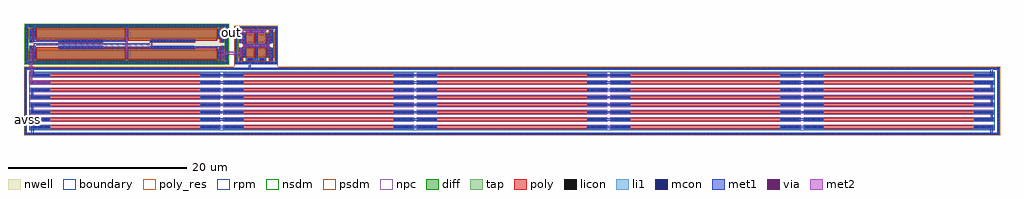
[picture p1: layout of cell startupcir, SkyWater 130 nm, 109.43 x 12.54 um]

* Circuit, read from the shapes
.subckt startupcir avss out vdde
XM1 nmos_startup_2/D1 nmos_startup_2/D1 nmos_startup_2/D1 avss sky130_fd_pr__nfet_01v8 w=1 l=0.15 m=4
XM2 avss out nmos_startup_2/D1 avss sky130_fd_pr__nfet_01v8 w=1 l=1 m=4
XM3 resistorstart_0/A resistorstart_0/A resistorstart_0/A vdde sky130_fd_pr__pfet_01v8 w=1 l=0.15
XM4 vdde vdde vdde vdde sky130_fd_pr__pfet_01v8 w=1 l=0.15
XM5 vdde nmos_startup_2/D1 resistorstart_0/A vdde sky130_fd_pr__pfet_01v8 w=1 l=10
XM6 vdde vdde vdde vdde sky130_fd_pr__pfet_01v8 w=1 l=10
XM7 nmos_startup_2/D1 nmos_startup_2/D1 vdde vdde sky130_fd_pr__pfet_01v8 w=1 l=10
XM8 out resistorstart_0/A vdde vdde sky130_fd_pr__pfet_01v8 w=1 l=10
XM9 nmos_startup_2/D1 nmos_startup_2/D1 nmos_startup_2/D1 vdde sky130_fd_pr__pfet_01v8 w=1 l=0.15
XM10 out out out vdde sky130_fd_pr__pfet_01v8 w=1 l=0.15
XR11 n1 avss avss sky130_fd_pr__res_high_po w=0.35 l=16.88
XR12 n2 avss avss sky130_fd_pr__res_high_po w=0.35 l=16.88
XR13 n3 n4 avss sky130_fd_pr__res_high_po w=0.35 l=16.88
XR14 n5 n4 avss sky130_fd_pr__res_high_po w=0.35 l=16.88
XR15 n6 n7 avss sky130_fd_pr__res_high_po w=0.35 l=16.88
XR16 n8 n7 avss sky130_fd_pr__res_high_po w=0.35 l=16.88
XR17 n9 resistorstart_0/A avss sky130_fd_pr__res_high_po w=0.35 l=16.88
XR18 n10 avss avss sky130_fd_pr__res_high_po w=0.35 l=16.88
XR19 n11 n1 avss sky130_fd_pr__res_high_po w=0.35 l=16.88
XR20 n12 n2 avss sky130_fd_pr__res_high_po w=0.35 l=16.88
XR21 n13 n3 avss sky130_fd_pr__res_high_po w=0.35 l=16.88
XR22 n14 n5 avss sky130_fd_pr__res_high_po w=0.35 l=16.88
XR23 n15 n6 avss sky130_fd_pr__res_high_po w=0.35 l=16.88
XR24 n16 n8 avss sky130_fd_pr__res_high_po w=0.35 l=16.88
XR25 n17 n9 avss sky130_fd_pr__res_high_po w=0.35 l=16.88
XR26 n18 n10 avss sky130_fd_pr__res_high_po w=0.35 l=16.88
XR27 n19 n11 avss sky130_fd_pr__res_high_po w=0.35 l=16.88
XR28 n20 n12 avss sky130_fd_pr__res_high_po w=0.35 l=16.88
XR29 n21 n13 avss sky130_fd_pr__res_high_po w=0.35 l=16.88
XR30 n22 n14 avss sky130_fd_pr__res_high_po w=0.35 l=16.88
XR31 n23 n15 avss sky130_fd_pr__res_high_po w=0.35 l=16.88
XR32 n24 n16 avss sky130_fd_pr__res_high_po w=0.35 l=16.88
XR33 n25 n17 avss sky130_fd_pr__res_high_po w=0.35 l=16.88
XR34 n26 n18 avss sky130_fd_pr__res_high_po w=0.35 l=16.88
XR35 n27 n19 avss sky130_fd_pr__res_high_po w=0.35 l=16.88
XR36 n28 n20 avss sky130_fd_pr__res_high_po w=0.35 l=16.88
XR37 n29 n21 avss sky130_fd_pr__res_high_po w=0.35 l=16.88
XR38 n30 n22 avss sky130_fd_pr__res_high_po w=0.35 l=16.88
XR39 n31 n23 avss sky130_fd_pr__res_high_po w=0.35 l=16.88
XR40 n32 n24 avss sky130_fd_pr__res_high_po w=0.35 l=16.88
XR41 n33 n25 avss sky130_fd_pr__res_high_po w=0.35 l=16.88
XR42 n34 n26 avss sky130_fd_pr__res_high_po w=0.35 l=16.88
XR43 avss n27 avss sky130_fd_pr__res_high_po w=0.35 l=16.88
XR44 n35 n28 avss sky130_fd_pr__res_high_po w=0.35 l=16.88
XR45 n35 n29 avss sky130_fd_pr__res_high_po w=0.35 l=16.88
XR46 n36 n30 avss sky130_fd_pr__res_high_po w=0.35 l=16.88
XR47 n36 n31 avss sky130_fd_pr__res_high_po w=0.35 l=16.88
XR48 n37 n32 avss sky130_fd_pr__res_high_po w=0.35 l=16.88
XR49 n37 n33 avss sky130_fd_pr__res_high_po w=0.35 l=16.88
XR50 avss n34 avss sky130_fd_pr__res_high_po w=0.35 l=16.88
.ends

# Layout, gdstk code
from math import pi, radians
import gdstk
lib = gdstk.Library(unit=1e-6, precision=1e-09)
def R(c, l, rs):  # rectangles x0, y0, x1, y1
    for r in rs: c.add(gdstk.rectangle(r[:2], r[2:], *l))
def A(c, l, x, y, w, h, nx, ny, dx, dy):  # array of equal rectangles
    R(c, l, [(x+i*dx, y+j*dy, x+i*dx+w, y+j*dy+h) for i in range(nx) for j in range(ny)])
nwell = (64, 20)
diff = (65, 20)
tap = (65, 44)
poly_res = (66, 13)
poly = (66, 20)
licon = (66, 44)
li1 = (67, 20)
mcon = (67, 44)
met1 = (68, 20)
via = (68, 44)
met2 = (69, 20)
rpm = (86, 20)
nsdm = (93, 44)
psdm = (94, 20)
npc = (95, 20)
boundary = (235, 4)

sky130_fd_pr__res_high_p = lib.new_cell('sky130_fd_pr__res_high_po_0p35_9NXREG')
R(sky130_fd_pr__res_high_p, tap, [(-3.73,-54.59,3.73,-54.42), (-3.73,-54.42,-3.56,54.42), (3.56,-54.42,3.73,54.42), (-3.73,54.42,3.73,54.59)])
A(sky130_fd_pr__res_high_p, poly_res, -3.08, -51.86, 0.35, 17, 8, 5, 0.83, 21.68)
A(sky130_fd_pr__res_high_p, poly, -3.08, -53.94, 0.35, 21.16, 8, 5, 0.83, 21.68)
A(sky130_fd_pr__res_high_p, licon, -3.145, -54.59, 0.17, 0.17, 19, 2, 0.34, 109.01)
A(sky130_fd_pr__res_high_p, licon, -3.73, -53.975, 0.17, 0.17, 1, 318, 0, 0.34)
A(sky130_fd_pr__res_high_p, licon, 3.56, -53.975, 0.17, 0.17, 1, 318, 0, 0.34)
A(sky130_fd_pr__res_high_p, licon, -3, -53.86, 0.19, 2, 8, 2, 0.83, 19)
A(sky130_fd_pr__res_high_p, licon, -3, -32.18, 0.19, 2, 8, 2, 0.83, 19)
A(sky130_fd_pr__res_high_p, licon, -3, -10.5, 0.19, 2, 8, 2, 0.83, 19)
A(sky130_fd_pr__res_high_p, licon, -3, 11.18, 0.19, 2, 8, 2, 0.83, 19)
A(sky130_fd_pr__res_high_p, licon, -3, 32.86, 0.19, 2, 8, 2, 0.83, 19)
A(sky130_fd_pr__res_high_p, li1, -3.08, -53.94, 0.35, 2.16, 8, 2, 0.83, 19)
A(sky130_fd_pr__res_high_p, li1, -3.08, -32.26, 0.35, 2.16, 8, 2, 0.83, 19)
A(sky130_fd_pr__res_high_p, li1, -3.08, -10.58, 0.35, 2.16, 8, 2, 0.83, 19)
A(sky130_fd_pr__res_high_p, li1, -3.08, 11.1, 0.35, 2.16, 8, 2, 0.83, 19)
A(sky130_fd_pr__res_high_p, li1, -3.08, 32.78, 0.35, 2.16, 8, 2, 0.83, 19)
R(sky130_fd_pr__res_high_p, li1, [(-3.73,-54.59,3.73,-54.42), (-3.73,-54.42,-3.56,54.42), (3.56,-54.42,3.73,54.42), (-3.73,54.42,3.73,54.59)])
A(sky130_fd_pr__res_high_p, mcon, -2.99, -53.845, 0.17, 0.17, 8, 6, 0.83, 0.36)
A(sky130_fd_pr__res_high_p, mcon, -2.99, -34.85, 0.17, 0.17, 8, 6, 0.83, 0.36)
A(sky130_fd_pr__res_high_p, mcon, -2.99, -32.165, 0.17, 0.17, 8, 6, 0.83, 0.36)
A(sky130_fd_pr__res_high_p, mcon, -2.99, -13.17, 0.17, 0.17, 8, 6, 0.83, 0.36)
A(sky130_fd_pr__res_high_p, mcon, -2.99, -10.485, 0.17, 0.17, 8, 6, 0.83, 0.36)
A(sky130_fd_pr__res_high_p, mcon, -2.99, 8.51, 0.17, 0.17, 8, 6, 0.83, 0.36)
A(sky130_fd_pr__res_high_p, mcon, -2.99, 11.195, 0.17, 0.17, 8, 6, 0.83, 0.36)
A(sky130_fd_pr__res_high_p, mcon, -2.99, 30.19, 0.17, 0.17, 8, 6, 0.83, 0.36)
A(sky130_fd_pr__res_high_p, mcon, -2.99, 32.875, 0.17, 0.17, 8, 6, 0.83, 0.36)
A(sky130_fd_pr__res_high_p, mcon, -2.99, 51.87, 0.17, 0.17, 8, 6, 0.83, 0.36)
A(sky130_fd_pr__res_high_p, met1, -3.03, -53.91, 0.25, 2.105, 8, 2, 0.83, 18.995)
A(sky130_fd_pr__res_high_p, met1, -3.03, -32.23, 0.25, 2.105, 8, 2, 0.83, 18.995)
A(sky130_fd_pr__res_high_p, met1, -3.03, -10.55, 0.25, 2.105, 8, 2, 0.83, 18.995)
A(sky130_fd_pr__res_high_p, met1, -3.03, 11.13, 0.25, 2.105, 8, 2, 0.83, 18.995)
A(sky130_fd_pr__res_high_p, met1, -3.03, 32.81, 0.25, 2.105, 8, 2, 0.83, 18.995)
R(sky130_fd_pr__res_high_p, rpm, [(-3.28,-54.14,3.28,54.14)])
R(sky130_fd_pr__res_high_p, psdm, [(-3.855,-54.715,3.855,54.715)])
A(sky130_fd_pr__res_high_p, npc, -3.175, -54.035, 0.54, 21.35, 8, 5, 0.83, 21.68)
R(sky130_fd_pr__res_high_p, boundary, [(-3.645,-54.505,3.645,54.505)])

resistorstart = lib.new_cell('resistorstart')
R(resistorstart, li1, [(-0.085,-0.085,109.095,0.085), (-0.085,0.085,0.085,7.205), (108.925,0.085,109.095,7.205), (-0.085,7.205,109.095,7.375)])
A(resistorstart, mcon, 0.42, -0.085, 0.17, 0.17, 301, 2, 0.36, 7.29)
A(resistorstart, mcon, -0.085, 0.32, 0.17, 0.17, 1, 19, 0, 0.36)
A(resistorstart, mcon, 108.925, 0.32, 0.17, 0.17, 1, 19, 0, 0.36)
R(resistorstart, mcon, [(-0.085,-0.085,0.085,0.085), (108.925,-0.085,109.095,0.085), (-0.085,7.205,0.085,7.375), (108.925,7.205,109.095,7.375)])
A(resistorstart, met1, 21.635, 0.615, 0.7, 0.25, 4, 8, 21.68, 0.83)
A(resistorstart, met1, 108.165, 1.445, 0.25, 1.08, 1, 3, 0, 1.66)
R(resistorstart, met1, [(-0.115,-0.145,0.115,-0.115), (108.895,-0.145,109.125,-0.115), (-0.145,-0.115,109.155,0.115), (-0.115,0.115,0.115,7.175), (0.595,0.115,0.885,0.66), (108.125,0.115,108.42,0.64), (108.895,0.115,109.125,7.175), (0.595,1.445,0.885,1.695), (0.595,2.28,0.845,3.36), (0.595,3.94,0.845,5.02), (0.595,5.595,0.885,5.845), (0.595,6.575,0.885,7.175), (108.125,6.65,108.415,7.175), (-0.145,7.175,109.155,7.405), (-0.115,7.405,0.115,7.435), (108.895,7.405,109.125,7.435)])
resistorstart.add(gdstk.Reference(sky130_fd_pr__res_high_p, (54.505,3.645), rotation=pi/2))
resistorstart.add(gdstk.Label('A', (0.625,5.685), layer=68, texttype=5))
resistorstart.add(gdstk.Label('B', (0.62,1.57), layer=68, texttype=5))
resistorstart.add(gdstk.Label('AVSS', (108.27,6.94), layer=68, texttype=5))

sky130_fd_pr__pfet_01v8_ = lib.new_cell('sky130_fd_pr__pfet_01v8_CVRJBD')
R(sky130_fd_pr__pfet_01v8_, nwell, [(-10.615,-0.82,10.615,0.99)])
R(sky130_fd_pr__pfet_01v8_, diff, [(-10.435,-0.32,10.435,0.68)])
R(sky130_fd_pr__pfet_01v8_, poly, [(-7.685,-0.805,-2.605,-0.64), (2.605,-0.805,7.685,-0.64), (-10.145,-0.64,-0.145,0.81), (0.145,-0.64,10.145,0.81)])
A(sky130_fd_pr__pfet_01v8_, licon, -7.44, -0.725, 0.17, 0.17, 14, 1, 0.34, 0)
A(sky130_fd_pr__pfet_01v8_, licon, 2.85, -0.725, 0.17, 0.17, 14, 1, 0.34, 0)
A(sky130_fd_pr__pfet_01v8_, licon, -10.375, -0.245, 0.17, 0.17, 3, 3, 10.29, 0.34)
A(sky130_fd_pr__pfet_01v8_, li1, -10.375, -0.34, 0.17, 1.04, 3, 1, 10.29, 0)
R(sky130_fd_pr__pfet_01v8_, li1, [(-7.685,-0.725,-2.605,-0.555), (2.605,-0.725,7.685,-0.555)])
A(sky130_fd_pr__pfet_01v8_, mcon, -7.57, -0.725, 0.17, 0.17, 14, 1, 0.36, 0)
A(sky130_fd_pr__pfet_01v8_, mcon, 2.72, -0.725, 0.17, 0.17, 14, 1, 0.36, 0)
A(sky130_fd_pr__pfet_01v8_, mcon, -10.375, -0.085, 0.17, 0.17, 3, 2, 10.29, 0.36)
A(sky130_fd_pr__pfet_01v8_, met1, -10.405, -0.32, 0.23, 1, 3, 1, 10.29, 0)
R(sky130_fd_pr__pfet_01v8_, met1, [(-7.665,-0.755,-2.625,-0.525), (2.625,-0.755,7.665,-0.525)])
R(sky130_fd_pr__pfet_01v8_, psdm, [(-10.56,-0.445,10.56,0.805)])
R(sky130_fd_pr__pfet_01v8_, npc, [(-7.54,-0.825,-2.75,-0.455), (2.75,-0.825,7.54,-0.455)])

c_sky130_fd_pr__pfet_01v8_ = lib.new_cell('sky130_fd_pr__pfet_01v8_8RMJP2')
R(c_sky130_fd_pr__pfet_01v8_, nwell, [(-10.615,-0.99,10.615,0.82)])
R(c_sky130_fd_pr__pfet_01v8_, diff, [(-10.435,-0.68,10.435,0.32)])
R(c_sky130_fd_pr__pfet_01v8_, poly, [(-10.145,-0.81,-0.145,0.64), (0.145,-0.81,10.145,0.64), (-7.685,0.64,-2.605,0.805), (2.605,0.64,7.685,0.805)])
A(c_sky130_fd_pr__pfet_01v8_, licon, -10.375, -0.605, 0.17, 0.17, 3, 3, 10.29, 0.34)
A(c_sky130_fd_pr__pfet_01v8_, licon, -7.44, 0.555, 0.17, 0.17, 14, 1, 0.34, 0)
A(c_sky130_fd_pr__pfet_01v8_, licon, 2.85, 0.555, 0.17, 0.17, 14, 1, 0.34, 0)
A(c_sky130_fd_pr__pfet_01v8_, li1, -10.375, -0.7, 0.17, 1.04, 3, 1, 10.29, 0)
R(c_sky130_fd_pr__pfet_01v8_, li1, [(-7.685,0.555,-2.605,0.725), (2.605,0.555,7.685,0.725)])
A(c_sky130_fd_pr__pfet_01v8_, mcon, -10.375, -0.445, 0.17, 0.17, 3, 2, 10.29, 0.36)
A(c_sky130_fd_pr__pfet_01v8_, mcon, -7.57, 0.555, 0.17, 0.17, 14, 1, 0.36, 0)
A(c_sky130_fd_pr__pfet_01v8_, mcon, 2.72, 0.555, 0.17, 0.17, 14, 1, 0.36, 0)
A(c_sky130_fd_pr__pfet_01v8_, met1, -10.405, -0.68, 0.23, 1, 3, 1, 10.29, 0)
R(c_sky130_fd_pr__pfet_01v8_, met1, [(-7.665,0.525,-2.625,0.755), (2.625,0.525,7.665,0.755)])
R(c_sky130_fd_pr__pfet_01v8_, psdm, [(-10.56,-0.805,10.56,0.445)])
R(c_sky130_fd_pr__pfet_01v8_, npc, [(-7.54,0.455,-2.75,0.825), (2.75,0.455,7.54,0.825)])

c_sky130_fd_pr__pfet_01v8__ = lib.new_cell('sky130_fd_pr__pfet_01v8_2XUZHN')
R(c_sky130_fd_pr__pfet_01v8__, nwell, [(-0.545,-0.81,0.545,0.81)])
R(c_sky130_fd_pr__pfet_01v8__, diff, [(-0.365,-0.5,0.365,0.5)])
R(c_sky130_fd_pr__pfet_01v8__, poly, [(-0.075,-0.63,0.075,0.63)])
A(c_sky130_fd_pr__pfet_01v8__, licon, -0.305, -0.425, 0.17, 0.17, 1, 3, 0, 0.34)
A(c_sky130_fd_pr__pfet_01v8__, licon, 0.135, -0.425, 0.17, 0.17, 1, 3, 0, 0.34)
R(c_sky130_fd_pr__pfet_01v8__, li1, [(-0.305,-0.52,-0.135,0.52), (0.135,-0.52,0.305,0.52)])
R(c_sky130_fd_pr__pfet_01v8__, mcon, [(-0.305,-0.265,-0.135,-0.095), (0.135,-0.265,0.305,-0.095), (-0.305,0.095,-0.135,0.265), (0.135,0.095,0.305,0.265)])
R(c_sky130_fd_pr__pfet_01v8__, met1, [(-0.335,-0.5,-0.105,0.5), (0.105,-0.5,0.335,0.5)])
R(c_sky130_fd_pr__pfet_01v8__, psdm, [(-0.49,-0.625,0.49,0.625)])

pmos_startup = lib.new_cell('pmos_startup')
R(pmos_startup, nwell, [(-0.88,-2.47,22.11,2.15)])
R(pmos_startup, tap, [(-0.7,-2.29,21.93,-2.12), (-0.7,-2.12,-0.53,1.8), (21.76,-2.12,21.93,1.8), (-0.7,1.8,21.93,1.97)])
R(pmos_startup, poly, [(21.05,-0.76,21.2,-0.695), (0.03,-0.72,0.18,-0.695), (-0.28,-0.695,0.18,-0.365), (21.05,-0.695,21.51,-0.365), (21.05,0.04,21.51,0.37), (-0.28,0.045,0.18,0.375), (21.05,0.37,21.2,0.63), (0.03,0.375,0.18,0.49)])
A(pmos_startup, licon, -0.35, -2.29, 0.17, 0.17, 65, 2, 0.34, 4.09)
A(pmos_startup, licon, -0.7, -1.945, 0.17, 0.17, 1, 11, 0, 0.34)
A(pmos_startup, licon, 21.76, -1.945, 0.17, 0.17, 1, 11, 0, 0.34)
R(pmos_startup, licon, [(-0.2,-0.615,-0.03,-0.445), (21.26,-0.615,21.43,-0.445), (21.26,0.12,21.43,0.29), (-0.2,0.125,-0.03,0.295)])
R(pmos_startup, li1, [(-0.7,-2.29,21.93,-2.12), (-0.7,-2.12,-0.53,1.8), (21.76,-2.12,21.93,1.8), (-0.2,-0.875,-0.03,-0.365), (21.26,-0.865,21.43,-0.365), (21.26,0.04,21.43,0.57), (-0.2,0.045,-0.03,0.555), (-0.7,1.8,21.93,1.97)])
A(pmos_startup, mcon, -0.27, -2.29, 0.17, 0.17, 61, 2, 0.36, 4.09)
A(pmos_startup, mcon, -0.7, -1.865, 0.17, 0.17, 1, 10, 0, 0.36)
A(pmos_startup, mcon, 21.76, -1.865, 0.17, 0.17, 1, 10, 0, 0.36)
R(pmos_startup, mcon, [(-0.7,-2.29,-0.53,-2.12), (21.76,-2.29,21.93,-2.12), (-0.2,-0.615,-0.03,-0.445), (21.26,-0.615,21.43,-0.445), (21.26,0.12,21.43,0.29), (-0.2,0.125,-0.03,0.295), (-0.7,1.8,-0.53,1.97), (21.76,1.8,21.93,1.97)])
R(pmos_startup, met1, [(-0.73,-2.35,-0.5,-2.32), (21.73,-2.35,21.96,-2.32), (-0.76,-2.32,21.99,-2.09), (-0.73,-2.09,-0.5,1.77), (10.5,-2.09,10.73,-1.79), (20.79,-2.09,21.02,-1.85), (21.73,-2.09,21.96,1.77), (-0.215,-1.85,0.3,-0.88), (20.79,-1.85,21.305,-0.895), (10.435,-1.79,10.795,-0.91), (10.5,-0.91,10.73,-0.645), (20.79,-0.895,21.46,-0.85), (-0.23,-0.88,0.3,-0.85), (-0.23,-0.85,0,-0.385), (20.79,-0.85,21.02,-0.645), (21.23,-0.85,21.46,-0.385), (7.76,-0.645,7.99,-0.275), (10.5,-0.645,21.02,-0.415), (7.76,-0.275,21.02,-0.045), (20.79,-0.045,21.02,0.525), (21.23,0.06,21.46,0.525), (-0.23,0.065,0,0.53), (0.44,0.065,3.1,0.095), (0.21,0.095,3.1,0.295), (7.97,0.095,13.345,0.325), (0.21,0.295,0.44,0.53), (20.79,0.525,21.46,0.53), (-0.23,0.53,0.44,0.535), (10.435,0.53,10.795,1.41), (20.895,0.53,21.46,0.62), (-0.23,0.535,0.395,0.54), (-0.12,0.54,0.395,1.5), (20.895,0.62,21.41,1.5), (-0.76,1.77,21.99,2), (-0.73,2,-0.5,2.03), (21.73,2,21.96,2.03)])
R(pmos_startup, via, [(10.54,-1.585,10.69,-1.435), (10.54,-1.265,10.69,-1.115), (10.54,0.735,10.69,0.885), (10.54,1.055,10.69,1.205)])
R(pmos_startup, met2, [(10.485,-1.84,10.745,1.46)])
R(pmos_startup, nsdm, [(-0.825,-2.415,22.055,-1.995), (-0.825,-1.995,-0.405,1.675), (21.635,-1.995,22.055,1.675), (-0.825,1.675,22.055,2.095)])
R(pmos_startup, npc, [(-0.3,-0.715,0.07,-0.345), (21.16,-0.715,21.53,-0.345), (21.16,0.02,21.53,0.39), (-0.3,0.025,0.07,0.395)])
pmos_startup.add(gdstk.Reference(sky130_fd_pr__pfet_01v8_, (10.615,0.85)))
pmos_startup.add(gdstk.Reference(c_sky130_fd_pr__pfet_01v8_, (10.615,-1.17)))
pmos_startup.add(gdstk.Reference(c_sky130_fd_pr__pfet_01v8__, (0.105,-1.35)))
pmos_startup.add(gdstk.Reference(c_sky130_fd_pr__pfet_01v8__, (0.105,1.03)))
pmos_startup.add(gdstk.Reference(c_sky130_fd_pr__pfet_01v8__, (21.125,-1.35)))
pmos_startup.add(gdstk.Reference(c_sky130_fd_pr__pfet_01v8__, (21.125,1.03)))
pmos_startup.add(gdstk.Label('D3', (0.31,0.15), layer=68, texttype=5))
pmos_startup.add(gdstk.Label('D2', (20.92,0.275), layer=68, texttype=5))
pmos_startup.add(gdstk.Label('D4', (0.085,-1.335), layer=68, texttype=5))
pmos_startup.add(gdstk.Label('VDDE', (10.595,-2.04), layer=68, texttype=5))

sky130_fd_pr__nfet_01v8_ = lib.new_cell('sky130_fd_pr__nfet_01v8_CJRLGR')
R(sky130_fd_pr__nfet_01v8_, diff, [(-1.435,-1.275,1.435,-0.275), (-1.435,0.275,1.435,1.275)])
R(sky130_fd_pr__nfet_01v8_, poly, [(-1.145,-1.715,-0.145,1.715), (0.145,-1.715,1.145,1.715)])
A(sky130_fd_pr__nfet_01v8_, licon, -0.9, -1.635, 0.17, 0.17, 1, 3, 0, 1.55)
A(sky130_fd_pr__nfet_01v8_, licon, -0.56, -1.635, 0.17, 0.17, 1, 3, 0, 1.55)
A(sky130_fd_pr__nfet_01v8_, licon, 0.39, -1.635, 0.17, 0.17, 1, 3, 0, 1.55)
A(sky130_fd_pr__nfet_01v8_, licon, 0.73, -1.635, 0.17, 0.17, 1, 3, 0, 1.55)
A(sky130_fd_pr__nfet_01v8_, licon, -1.375, -1.2, 0.17, 0.17, 3, 3, 1.29, 0.34)
A(sky130_fd_pr__nfet_01v8_, licon, -1.375, 0.35, 0.17, 0.17, 3, 3, 1.29, 0.34)
A(sky130_fd_pr__nfet_01v8_, li1, -1.145, -1.635, 1, 0.17, 1, 3, 0, 1.55)
A(sky130_fd_pr__nfet_01v8_, li1, 0.145, -1.635, 1, 0.17, 1, 3, 0, 1.55)
A(sky130_fd_pr__nfet_01v8_, li1, -1.375, -1.295, 0.17, 1.04, 3, 2, 1.29, 1.55)
A(sky130_fd_pr__nfet_01v8_, mcon, -0.73, -1.635, 0.17, 0.17, 1, 3, 0, 1.55)
A(sky130_fd_pr__nfet_01v8_, mcon, 0.56, -1.635, 0.17, 0.17, 1, 3, 0, 1.55)
A(sky130_fd_pr__nfet_01v8_, mcon, -1.375, -1.04, 0.17, 0.17, 3, 2, 1.29, 0.36)
A(sky130_fd_pr__nfet_01v8_, mcon, -1.375, 0.51, 0.17, 0.17, 3, 2, 1.29, 0.36)
A(sky130_fd_pr__nfet_01v8_, met1, -0.915, -1.665, 0.54, 0.23, 1, 3, 0, 1.55)
A(sky130_fd_pr__nfet_01v8_, met1, 0.375, -1.665, 0.54, 0.23, 1, 3, 0, 1.55)
A(sky130_fd_pr__nfet_01v8_, met1, -1.405, -1.275, 0.23, 1, 3, 2, 1.29, 1.55)
R(sky130_fd_pr__nfet_01v8_, nsdm, [(-1.56,-1.4,1.56,1.4)])
A(sky130_fd_pr__nfet_01v8_, npc, -1, -1.735, 0.71, 0.37, 1, 3, 0, 1.55)
A(sky130_fd_pr__nfet_01v8_, npc, 0.29, -1.735, 0.71, 0.37, 1, 3, 0, 1.55)

c_sky130_fd_pr__nfet_01v8_ = lib.new_cell('sky130_fd_pr__nfet_01v8_6H9P4D')
R(c_sky130_fd_pr__nfet_01v8_, diff, [(-0.365,-0.5,0.365,0.5)])
R(c_sky130_fd_pr__nfet_01v8_, poly, [(-0.075,-0.63,0.075,0.63)])
A(c_sky130_fd_pr__nfet_01v8_, licon, -0.305, -0.425, 0.17, 0.17, 1, 3, 0, 0.34)
A(c_sky130_fd_pr__nfet_01v8_, licon, 0.135, -0.425, 0.17, 0.17, 1, 3, 0, 0.34)
R(c_sky130_fd_pr__nfet_01v8_, li1, [(-0.305,-0.52,-0.135,0.52), (0.135,-0.52,0.305,0.52)])
R(c_sky130_fd_pr__nfet_01v8_, mcon, [(-0.305,-0.265,-0.135,-0.095), (0.135,-0.265,0.305,-0.095), (-0.305,0.095,-0.135,0.265), (0.135,0.095,0.305,0.265)])
R(c_sky130_fd_pr__nfet_01v8_, met1, [(-0.335,-0.5,-0.105,0.5), (0.105,-0.5,0.335,0.5)])
R(c_sky130_fd_pr__nfet_01v8_, nsdm, [(-0.49,-0.625,0.49,0.625)])

nmos_startup = lib.new_cell('nmos_startup')
R(nmos_startup, tap, [(-0.96,-0.71,3.67,-0.54), (-0.96,-0.54,-0.79,3.23), (3.5,-0.54,3.67,3.23), (-0.96,3.23,3.67,3.4)])
R(nmos_startup, poly, [(-0.54,-0.37,-0.08,-0.04), (2.79,-0.37,3.25,-0.04), (-0.23,-0.04,-0.08,0.07), (1.15,1.145,1.595,1.545), (2.79,2.6,2.94,2.73), (-0.23,2.62,-0.08,2.73), (-0.54,2.73,-0.08,3.06), (2.79,2.73,3.25,3.06)])
A(nmos_startup, licon, -0.6, -0.71, 0.17, 0.17, 12, 2, 0.34, 3.94)
A(nmos_startup, licon, 3.5, -0.295, 0.17, 0.17, 1, 10, 0, 0.34)
A(nmos_startup, licon, -0.96, -0.27, 0.17, 0.17, 1, 10, 0, 0.34)
R(nmos_startup, licon, [(-0.46,-0.29,-0.29,-0.12), (3,-0.29,3.17,-0.12), (-0.46,2.81,-0.29,2.98), (3,2.81,3.17,2.98)])
R(nmos_startup, li1, [(-0.96,-0.71,3.67,-0.54), (-0.96,-0.54,-0.79,3.23), (3.5,-0.54,3.67,3.23), (-0.46,-0.37,-0.29,0.13), (3,-0.37,3.17,0.07), (3,2.6,3.17,3.06), (-0.46,2.62,-0.29,3.06), (-0.96,3.23,3.67,3.4)])
A(nmos_startup, mcon, -0.53, -0.71, 0.17, 0.17, 11, 2, 0.36, 3.94)
A(nmos_startup, mcon, -0.96, -0.18, 0.17, 0.17, 1, 9, 0, 0.36)
A(nmos_startup, mcon, 3.5, -0.18, 0.17, 0.17, 1, 9, 0, 0.36)
R(nmos_startup, mcon, [(-0.96,-0.71,-0.79,-0.54), (3.5,-0.71,3.67,-0.54), (-0.46,-0.29,-0.29,-0.12), (3,-0.29,3.17,-0.12), (-0.46,2.81,-0.29,2.98), (3,2.81,3.17,2.98), (-0.96,3.23,-0.79,3.4), (3.5,3.23,3.67,3.4)])
R(nmos_startup, met1, [(-0.99,-0.77,-0.76,-0.74), (3.47,-0.77,3.7,-0.74), (-1.02,-0.74,3.73,-0.51), (-0.99,-0.51,-0.76,3.2), (1.24,-0.51,1.47,0.185), (3.47,-0.51,3.7,3.2), (-0.49,-0.35,-0.26,0.07), (2.97,-0.35,3.2,0.07), (-0.33,0.07,0.05,1.055), (2.65,0.07,3.03,0.175), (2.65,0.175,3.165,0.18), (2.65,0.18,3.03,1.055), (1.24,1.05,1.47,1.63), (-0.33,1.055,0.18,1.07), (2.53,1.055,3.03,1.07), (-0.05,1.07,0.18,1.215), (2.53,1.07,2.76,1.215), (-0.115,1.215,0.245,1.475), (2.465,1.215,2.825,1.475), (0.44,1.23,0.98,1.465), (-0.05,1.475,0.18,1.62), (2.53,1.475,2.76,1.62), (-0.355,1.62,0.18,1.635), (2.53,1.62,3.03,1.635), (-0.355,1.635,0.025,2.62), (2.65,1.635,3.03,2.6), (1.24,2.545,1.47,3.2), (2.65,2.6,3.2,2.62), (-0.49,2.62,-0.26,3.04), (2.97,2.62,3.2,3.04), (-1.02,3.2,3.73,3.43), (-0.99,3.43,-0.76,3.46), (3.47,3.43,3.7,3.46)])
R(nmos_startup, via, [(-0.01,1.27,0.14,1.42), (2.57,1.27,2.72,1.42)])
R(nmos_startup, met2, [(-0.065,1.165,2.775,1.525)])
R(nmos_startup, nsdm, [(-0.645,1.195,-0.205,1.495), (2.915,1.195,3.355,1.495)])
R(nmos_startup, psdm, [(-1.085,-0.835,3.795,-0.415), (-1.085,-0.415,-0.665,3.105), (3.375,-0.415,3.795,3.105), (-1.085,3.105,3.795,3.525)])
R(nmos_startup, npc, [(-0.56,-0.39,-0.19,-0.02), (2.9,-0.39,3.27,-0.02), (-0.56,2.71,-0.19,3.08), (2.9,2.71,3.27,3.08)])
nmos_startup.add(gdstk.Reference(sky130_fd_pr__nfet_01v8_, (1.355,1.345)))
nmos_startup.add(gdstk.Reference(c_sky130_fd_pr__nfet_01v8_, (2.865,0.57)))
nmos_startup.add(gdstk.Reference(c_sky130_fd_pr__nfet_01v8_, (-0.155,0.57)))
nmos_startup.add(gdstk.Reference(c_sky130_fd_pr__nfet_01v8_, (2.865,2.12)))
nmos_startup.add(gdstk.Reference(c_sky130_fd_pr__nfet_01v8_, (-0.155,2.12)))
nmos_startup.add(gdstk.Label('AVSS', (1.355,3.025), layer=68, texttype=5))
nmos_startup.add(gdstk.Label('D1', (2.67,1.39), layer=69, texttype=5))
nmos_startup.add(gdstk.Label('G1', (0.46,1.24), layer=68, texttype=5))

startupcir = lib.new_cell('startupcir')
R(startupcir, met1, [(0.05,-6.195,1.295,-5.945), (0.77,-2.05,2.855,-1.79), (25.16,-0.455,25.4,0.35), (0.56,0.75,0.92,1.63), (22.02,0.75,22.38,1.63), (24.075,0.99,24.435,1.87), (22.02,3.13,22.38,4.01), (25.08,3.66,25.6,3.92), (26.37,3.66,26.89,3.92), (22.595,4.34,22.815,4.515)])
A(startupcir, via, 0.935, -1.995, 0.15, 0.15, 6, 1, 0.32, 0)
R(startupcir, via, [(0.665,0.955,0.815,1.105), (22.125,0.955,22.275,1.105), (24.18,1.195,24.33,1.345), (0.665,1.275,0.815,1.425), (22.125,1.275,22.275,1.425), (24.18,1.515,24.33,1.665), (22.125,3.335,22.275,3.485), (22.125,3.655,22.275,3.805), (25.265,3.715,25.415,3.865), (26.555,3.715,26.705,3.865)])
R(startupcir, met2, [(0.61,-2.1,2.805,-1.74), (0.61,-1.74,0.87,1.68), (22.07,0.7,22.33,1.17), (24.125,0.94,24.385,1.17), (22.07,1.17,24.385,1.53), (22.07,1.53,22.33,1.68), (24.125,1.53,24.385,1.92), (22.07,3.08,22.33,3.66), (25.13,3.61,25.55,3.66), (26.42,3.61,26.84,3.66), (22.07,3.66,26.87,3.92), (22.07,3.92,22.33,4.06), (25.13,3.92,25.55,3.97), (26.42,3.92,26.84,3.97)])
R(startupcir, psdm, [(23.545,-0.14,28.425,0.06)])
startupcir.add(gdstk.Reference(resistorstart, (0.165,-7.64)))
startupcir.add(gdstk.Reference(pmos_startup, (22.085,2.22), rotation=pi))
startupcir.add(gdstk.Reference(nmos_startup, (24.63,0.895)))
startupcir.add(gdstk.Label('avss', (0.385,-6.06), layer=68, texttype=5))
startupcir.add(gdstk.Label('out', (23.26,3.745), layer=69, texttype=5))
startupcir.add(gdstk.Label('vdde', (22.695,4.43), layer=68, texttype=5))

lib.write_gds('startupcir.gds')
